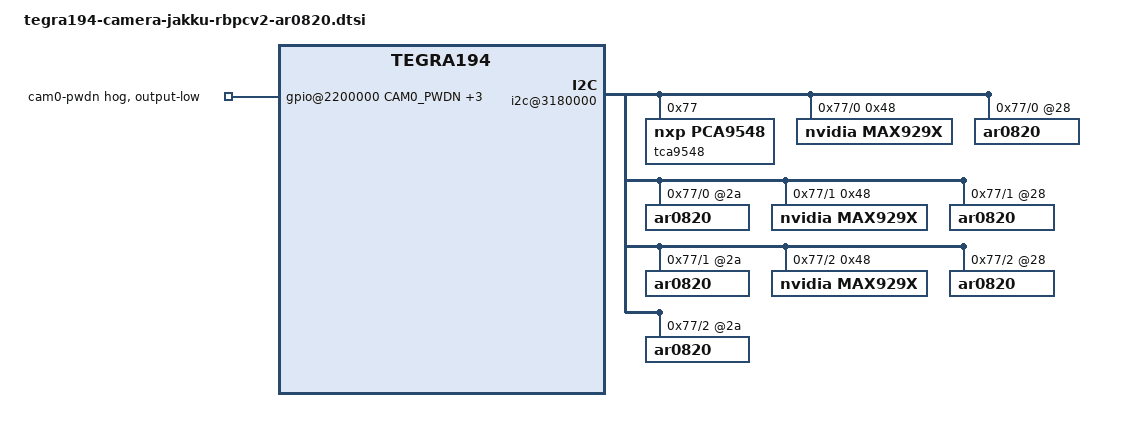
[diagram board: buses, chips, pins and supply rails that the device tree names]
/*
 * Copyright (c) 2018-2020, NVIDIA CORPORATION.  All rights reserved.
 *
 * This program is free software; you can redistribute it and/or modify
 * it under the terms of the GNU General Public License as published by
 * the Free Software Foundation; either version 2 of the License, or
 * (at your option) any later version.
 *
 * This program is distributed in the hope that it will be useful, but WITHOUT
 * ANY WARRANTY; without even the implied warranty of MERCHANTABILITY or
 * FITNESS FOR A PARTICULAR PURPOSE.  See the GNU General Public License for
 * more details.
 *
 * You should have received a copy of the GNU General Public License
 * along with this program.  If not, see <http://www.gnu.org/licenses/>.
 */

#include "tegra194-camera-rbpcv2-ar0820.dtsi"

#define CAM0_PWDN	TEGRA194_MAIN_GPIO(P, 4)
#define CAM1_PWDN	TEGRA194_MAIN_GPIO(P, 5)
#define CAM2_PWDN	TEGRA194_MAIN_GPIO(R, 0)
#define CAM3_PWDN	TEGRA194_MAIN_GPIO(Q, 3)

#define CAMERA_I2C_MUX_BUS(x) (0x1E + x)

/ {
	i2c@3180000{
		tca9548@77 {
			compatible = "nxp,pca9548";
			reg = <0x77>;
			#address-cells = <1>;
			#size-cells = <0>;
			/*			vif-supply = <&p3509_vdd_sys_en>; */
			/*			vcc-supply = <&p3509_vdd_sys_en>; */
			vcc_lp = "vif";
			skip_mux_detect = "yes";
			force_bus_start = <CAMERA_I2C_MUX_BUS(0)>;
			status = "okay";

			i2c@0 {
				reg = <0>;
				i2c-mux,deselect-on-exit;
				#address-cells = <1>;
				#size-cells = <0>;

				max929x@48 {
					compatible = "nvidia,max929x";
					reg = <0x48>;
					/* pwdn-gpios = <&tegra_main_gpio MAX9296_PWDN GPIO_ACTIVE_LOW>; */
				};

				ar0820@28 {
					/* Define any required hw resources needed by driver */
					/* ie. clocks, io pins, power sources */
					clocks = <&bpmp_clks TEGRA194_CLK_EXTPERIPH1>,
							 <&bpmp_clks TEGRA194_CLK_PLLP_OUT0>;
					clock-names = "extperiph1", "pllp_grtba";
					mclk = "extperiph1";
				};
				ar0820@2a {
					/* Define any required hw resources needed by driver */
					/* ie. clocks, io pins, power sources */
					clocks = <&bpmp_clks TEGRA194_CLK_EXTPERIPH1>,
							 <&bpmp_clks TEGRA194_CLK_PLLP_OUT0>;
					clock-names = "extperiph1", "pllp_grtba";
					mclk = "extperiph1";
				};
			};

			i2c@1 {
				reg = <1>;
				i2c-mux,deselect-on-exit;
				#address-cells = <1>;
				#size-cells = <0>;

				max929x@48 {
					compatible = "nvidia,max929x";
					reg = <0x48>;
					/* pwdn-gpios = <&tegra_main_gpio MAX9296_PWDN GPIO_ACTIVE_LOW>; */
				};

				ar0820@28 {
					/* Define any required hw resources needed by driver */
					/* ie. clocks, io pins, power sources */
					clocks = <&bpmp_clks TEGRA194_CLK_EXTPERIPH1>,
							 <&bpmp_clks TEGRA194_CLK_PLLP_OUT0>;
					clock-names = "extperiph1", "pllp_grtba";
					mclk = "extperiph1";
				};
				ar0820@2a {
					/* Define any required hw resources needed by driver */
					/* ie. clocks, io pins, power sources */
					clocks = <&bpmp_clks TEGRA194_CLK_EXTPERIPH1>,
							 <&bpmp_clks TEGRA194_CLK_PLLP_OUT0>;
					clock-names = "extperiph1", "pllp_grtba";
					mclk = "extperiph1";
				};
			};

			i2c@2 {
				reg = <2>;
				i2c-mux,deselect-on-exit;
				#address-cells = <1>;
				#size-cells = <0>;

				max929x@48 {
					compatible = "nvidia,max929x";
					reg = <0x48>;
					/* pwdn-gpios = <&tegra_main_gpio MAX9296_PWDN GPIO_ACTIVE_LOW>; */
				};

				ar0820@28 {
					/* Define any required hw resources needed by driver */
					/* ie. clocks, io pins, power sources */
					clocks = <&bpmp_clks TEGRA194_CLK_EXTPERIPH1>,
							 <&bpmp_clks TEGRA194_CLK_PLLP_OUT0>;
					clock-names = "extperiph1", "pllp_grtba";
					mclk = "extperiph1";
				};
				ar0820@2a {
					/* Define any required hw resources needed by driver */
					/* ie. clocks, io pins, power sources */
					clocks = <&bpmp_clks TEGRA194_CLK_EXTPERIPH1>,
							 <&bpmp_clks TEGRA194_CLK_PLLP_OUT0>;
					clock-names = "extperiph1", "pllp_grtba";
					mclk = "extperiph1";
				};
			};
		};
	};

	gpio@2200000 {
		camera-control-output-low {
			gpio-hog;
			output-low;
			gpios = <CAM0_PWDN 0 CAM1_PWDN 0 CAM2_PWDN 0 CAM3_PWDN 0>;
			label = "cam0-pwdn","cam1-pwdn","cam2-pwdn","cam3-pwdn";
		};
	};
};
